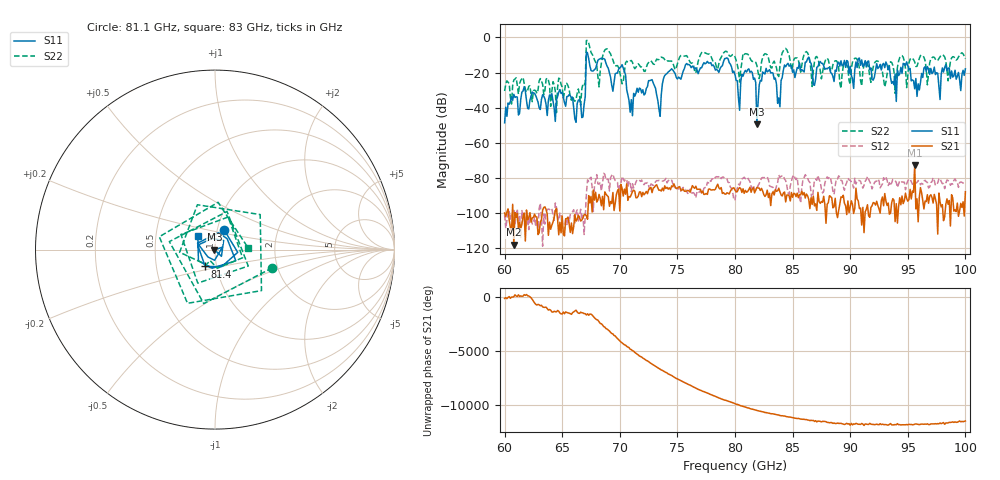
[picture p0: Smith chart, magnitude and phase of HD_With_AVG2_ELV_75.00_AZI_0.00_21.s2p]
! 11/25/2026 10:20:27 AM
! C:\ANRITSUVNA\TEMP\TEMP.S2P
! CHANNEL.1
! TR.MEASUREMENT
! RAW.DATA
# HZ S RI R 50.0
! FREQ.HZ  S11RE  S11IM  S21RE  S21IM  S12RE  S12IM  S22RE  S22IM
!; PortSelection: Port_12
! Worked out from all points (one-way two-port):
!   401 points, 60 GHz to 100 GHz, reference 50 ohm
!   highest |S21| = -72.77 dB at 95.6 GHz (marker M1); lowest = -118.2 dB at 60.8 GHz (marker M2)
!   lowest |S11| = -49.6 dB at 81.9 GHz (marker M3), VSWR 1.01, Z = 49.7 + j0.00354 ohm
!   |S11| at or under -10 dB: start of sweep to 67.09 GHz; 67.24 GHz to end of sweep
!   |S22| runs from -42.9 to -1.7 dB; largest |S21 - S12| = 0.00028
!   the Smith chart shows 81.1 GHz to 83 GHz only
!   S11 on the Smith chart (normalised r, x): 81.1 GHz: 1.08, +0.24; 81.4 GHz: 0.88, -0.17; 83 GHz: 0.82, +0.12
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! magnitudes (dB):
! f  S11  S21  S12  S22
! 60 GHz  -48.7  -100.1  -101.2  -30.5
! 60.8 GHz  -32.4  -118.2  -98.6  -24.2
! 66.7 GHz  -45.7  -104.2  -103.5  -29.5
! 67.3 GHz  -12.1  -90.2  -82.2  -3.2
! 68.4 GHz  -11.8  -96.0  -87.6  -14.7
! 68.9 GHz  -16.4  -90.2  -80.9  -6.5
! 70.3 GHz  -17.5  -90.5  -80.7  -25.5
! 70.9 GHz  -42.6  -91.0  -82.7  -13.5
! 72.7 GHz  -24.4  -85.5  -83.5  -13.3
! 73.4 GHz  -41.0  -87.2  -81.5  -12.6
! 74.4 GHz  -18.6  -86.8  -81.9  -13.4
! 80 GHz  -21.2  -87.0  -92.7  -11.1
! 81.1 GHz  -18.4  -87.8  -80.0  -9.5
! 81.4 GHz  -19.3  -88.3  -84.9  -13.0
! 81.9 GHz  -49.6  -85.5  -86.6  -15.9
! 83 GHz  -18.4  -88.9  -84.7  -14.6
! 83.8 GHz  -34.5  -86.0  -78.4  -22.3
! 84.4 GHz  -16.7  -93.8  -81.6  -6.2
! 86.7 GHz  -17.6  -95.2  -94.1  -28.0
! 93.4 GHz  -16.3  -100.8  -82.8  -15.6
! 95.6 GHz  -29.3  -72.8  -83.9  -13.9
! 100 GHz  -17.9  -88.0  -82.1  -12.1
